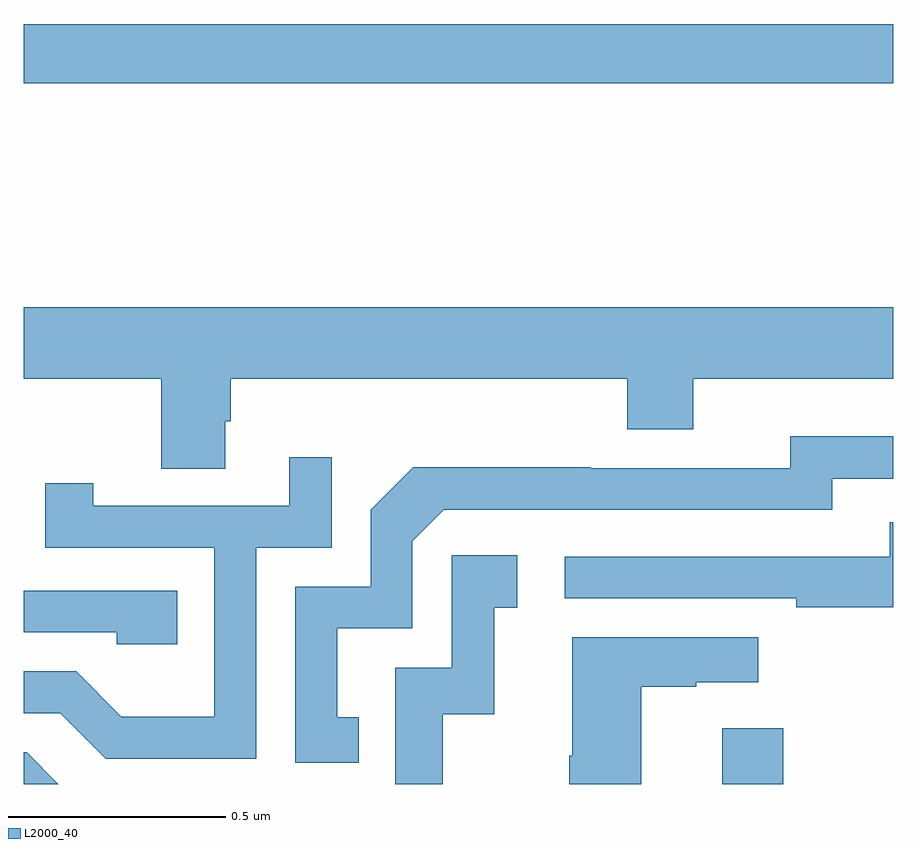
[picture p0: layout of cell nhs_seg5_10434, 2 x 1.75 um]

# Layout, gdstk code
import gdstk
lib = gdstk.Library(unit=1e-6, precision=1e-09)
def R(c, l, rs):  # rectangles x0, y0, x1, y1
    for r in rs: c.add(gdstk.rectangle(r[:2], r[2:], *l))
def P(c, l, *ps):  # polygons
    for p in ps: c.add(gdstk.Polygon(p, *l))
L2000_40 = (2000, 40)

nhs_seg5_10434 = lib.new_cell('nhs_seg5_10434')
R(nhs_seg5_10434, L2000_40, [(247.607,883.799,247.747,883.927), (246,885.412,248,885.548)])
P(nhs_seg5_10434, L2000_40, [(246.463,884.634),(246.476,884.634),(246.476,884.732),(247.388,884.732),(247.388,884.615),(247.54,884.615),(247.54,884.732),(248,884.732),(248,884.896),(246,884.896),(246,884.732),(246.316,884.732),(246.316,884.524),(246.463,884.524)],
  [(246.77,883.953),(246.721,883.953),(246.721,884.157),(246.894,884.157),(246.894,884.358),(246.966,884.43),(247.86,884.43),(247.86,884.502),(248,884.502),(248,884.599),(247.764,884.599),(247.764,884.526),(247.304,884.526),(247.304,884.528),(246.896,884.528),(246.798,884.43),(246.798,884.253),(246.624,884.253),(246.624,883.848),(246.77,883.848)],
  [(246.534,884.343),(246.708,884.343),(246.708,884.551),(246.611,884.551),(246.611,884.439),(246.16,884.439),(246.16,884.491),(246.049,884.491),(246.049,884.343),(246.438,884.343),(246.438,883.954),(246.224,883.954),(246.12,884.058),(246,884.058),(246,883.962),(246.083,883.962),(246.188,883.857),(246.534,883.857)],
  [(248,884.401),(247.993,884.401),(247.993,884.322),(247.245,884.322),(247.245,884.226),(247.777,884.226),(247.777,884.206),(248,884.206)],
  [(246.964,883.959),(247.082,883.959),(247.082,884.205),(247.135,884.205),(247.135,884.326),(246.984,884.326),(246.984,884.067),(246.855,884.067),(246.855,883.799),(246.964,883.799)],
  [(246.353,884.244),(246,884.244),(246,884.148),(246.213,884.148),(246.213,884.121),(246.353,884.121)],
  [(247.42,884.023),(247.547,884.023),(247.547,884.033),(247.69,884.033),(247.69,884.137),(247.262,884.137),(247.262,883.864),(247.255,883.864),(247.255,883.799),(247.42,883.799)],
  [(246.006,883.872),(246,883.872),(246,883.799),(246.079,883.799)])

lib.write_gds('nhs_seg5_10434.gds')
